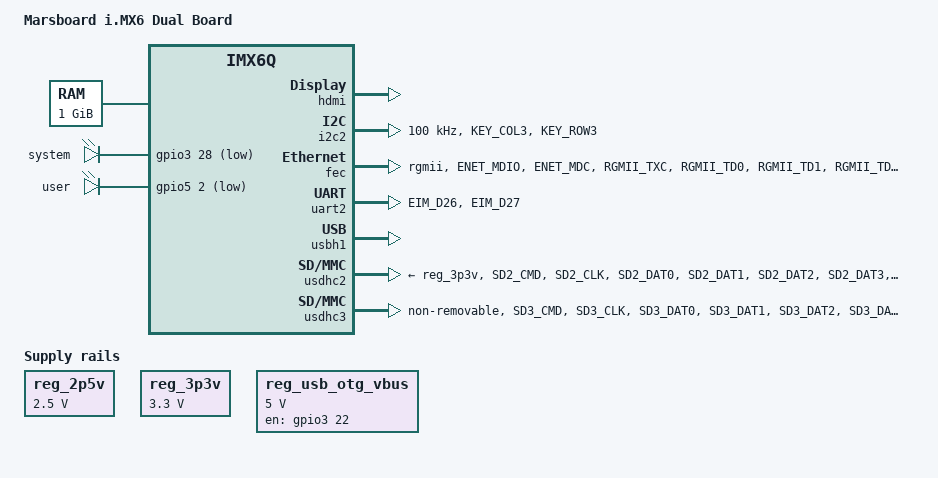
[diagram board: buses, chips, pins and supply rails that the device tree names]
/dts-v1/;

#include "imx6q.dtsi"
#include <dt-bindings/gpio/gpio.h>

/ {
  	model = "Marsboard i.MX6 Dual Board";
	compatible = "embest,imx6q-marsboard", "fsl,imx6q";
	aliases {
		mxcfb0 = &mxcfb1;
		mxcfb1 = &mxcfb2;
		mxcfb2 = &mxcfb3;
		mxcfb3 = &mxcfb4;
	};

	memory {
		reg = <0x10000000 0x40000000>;
	};

	regulators {
		compatible = "simple-bus";
		#address-cells = <1>;
		#size-cells = <0>;

		reg_2p5v: regulator@0 {
			compatible = "regulator-fixed";
			reg = <0>;
			regulator-name = "2P5V";
			regulator-min-microvolt = <2500000>;
			regulator-max-microvolt = <2500000>;
		};

		reg_3p3v: regulator@1 {
			compatible = "regulator-fixed";
			reg = <1>;
			regulator-name = "3P3V";
			regulator-min-microvolt = <3300000>;
			regulator-max-microvolt = <3300000>;
		};

		reg_usb_otg_vbus: regulator@2 {
			compatible = "regulator-fixed";
			reg = <2>;
			regulator-name = "usb_otg_vbus";
			regulator-min-microvolt = <5000000>;
			regulator-max-microvolt = <5000000>;
			gpio = <&gpio3 22 0>;
			enable-active-high;
		};
	};

	leds { /* see iomuxc definition below */
		compatible = "gpio-leds";
		sys_led {
			label = "system";
			gpios = <&gpio3 28 GPIO_ACTIVE_LOW>;
			linux,default-trigger = "heartbeat";
			default-state = "on";
		};
		user_led {
			label = "user";
			gpios = <&gpio5 2 GPIO_ACTIVE_LOW>;
			default-state = "off";
		};
	};
	
//	sound-hdmi {
//		compatible = "fsl,imx6q-audio-hdmi", "fsl,imx-audio-hdmi";
//		model = "imx-audio-hdmi";
//		hdmi-controller = <&hdmi_audio>;
//		status = "okay";
//	};

	mxcfb1: fb@0 {
		compatible = "fsl,mxc_sdc_fb";
		disp_dev = "hdmi";
		interface_pix_fmt = "RGB24";
		mode_str ="1280x720M@60";
		default_bpp = <32>;
		int_clk = <0>;
		late_init = <0>;
		status = "okay";
	};

	mxcfb2: fb@1 {
		compatible = "fsl,mxc_sdc_fb";
		disp_dev = "ldb";
		interface_pix_fmt = "RGB666";
		mode_str ="LDB-XGA";
		default_bpp = <16>;
		int_clk = <0>;
		late_init = <0>;
		status = "disabled";
	};

	mxcfb3: fb@2 {
		compatible = "fsl,mxc_sdc_fb";
		disp_dev = "lcd";
		interface_pix_fmt = "RGB565";
		mode_str ="CLAA-WVGA";
		default_bpp = <16>;
		int_clk = <0>;
		late_init = <0>;
		status = "disabled";
	};

	mxcfb4: fb@3 {
		compatible = "fsl,mxc_sdc_fb";
		disp_dev = "ldb";
		interface_pix_fmt = "RGB666";
		mode_str ="LDB-XGA";
		default_bpp = <16>;
		int_clk = <0>;
		late_init = <0>;
		status = "disabled";
	};

	v4l2_cap_0 {
		compatible = "fsl,imx6q-v4l2-capture";
		ipu_id = <0>;
		csi_id = <0>;
		mclk_source = <0>;
		status = "disabled";
	}; 

	v4l2_cap_1 {
		compatible = "fsl,imx6q-v4l2-capture";
		ipu_id = <0>;
		csi_id = <1>;
		mclk_source = <0>;
		status = "disabled";
	};

 	v4l2_out { // v4l2 output support: /dev/video16 + /dev/video17
		compatible = "fsl,mxc_v4l2_output";
		status = "okay";
	};

//	pwmleds {
//		compatible = "pwm-leds";
//		my_pwm {
//			pwms = <&pwm4 0 5000000>;
//			max-brightness = <255>;
//		};
//	};

};

&iomuxc {
	pinctrl-names = "default";

	imx6-marsboard {
		pinctrl_led: ledgrp {
			fsl,pins = <
				MX6QDL_PAD_EIM_A25__GPIO5_IO02		0x1b0b1	/* user led0 */
				MX6QDL_PAD_EIM_D28__GPIO3_IO28		0x1b0b1	/* user led1 */
			>;
		};
	
		pinctrl_enet: enetgrp {
			fsl,pins = <
				MX6QDL_PAD_ENET_MDIO__ENET_MDIO		0x1b0b0
				MX6QDL_PAD_ENET_MDC__ENET_MDC		0x1b0b0
				MX6QDL_PAD_RGMII_TXC__RGMII_TXC		0x1b0b0
				MX6QDL_PAD_RGMII_TD0__RGMII_TD0		0x1b0b0
				MX6QDL_PAD_RGMII_TD1__RGMII_TD1		0x1b0b0
				MX6QDL_PAD_RGMII_TD2__RGMII_TD2		0x1b0b0
				MX6QDL_PAD_RGMII_TD3__RGMII_TD3		0x1b0b0
				MX6QDL_PAD_RGMII_TX_CTL__RGMII_TX_CTL	0x1b0b0
				MX6QDL_PAD_ENET_REF_CLK__ENET_TX_CLK	0x0a0b1		/* AR8035 CLK_25M --> ENET_REF_CLK (V22) */
				MX6QDL_PAD_RGMII_RXC__RGMII_RXC		0x1b0b0		/* AR8035 pin strapping: IO voltage: pull up */
				MX6QDL_PAD_RGMII_RD0__RGMII_RD0		0x130b0		/* AR8035 pin strapping: PHYADDR#0: pull down */
				MX6QDL_PAD_RGMII_RD1__RGMII_RD1		0x130b0		/* AR8035 pin strapping: PHYADDR#1: pull down */
				MX6QDL_PAD_RGMII_RD2__RGMII_RD2		0x1b0b0		/* AR8035 pin strapping: MODE#1: pull up */
				MX6QDL_PAD_RGMII_RD3__RGMII_RD3		0x1b0b0		/* AR8035 pin strapping: MODE#3: pull up */
				MX6QDL_PAD_RGMII_RX_CTL__RGMII_RX_CTL	0x130b0		/* AR8035 pin strapping: MODE#0: pull down */
				MX6QDL_PAD_GPIO_16__ENET_REF_CLK	0x4001b0a8	/* GPIO16 -> AR8035 25MHz */
				MX6QDL_PAD_EIM_D31__GPIO3_IO31		0x130b0		/* RGMII_nRST */
				MX6QDL_PAD_ENET_TX_EN__GPIO1_IO28	0x180b0		/* AR8035 interrupt */
				MX6QDL_PAD_GPIO_6__ENET_IRQ		0x000b1
			>;
		};

	// shared on LCD port (J12), extension header (J11), and LVDS display (J3), on-board pull-ups
	// 3p3
	//	i2c3 {		/* for LVDS display */
	//		pinctrl_i2c3: i2c3grp {
	//			fsl,pins = <
	//					MX6QDL_PAD_GPIO_5__I2C3_SCL 0x4001b8b1
	//					MX6QDL_PAD_GPIO_6__I2C3_SDA 0x4001b8b1
	//			>;
	//		};
	//	};

	// shared on J10 and LVDS display (J3)
	//	pwm4 {
	//		pinctrl_pwm4_2: pwm4grp-2 {
	//			fsl,pins = <
	//				MX6QDL_PAD_SD1_CMD__PWM4_OUT 0x1b0b1
	//			>;
	//		};
	//	};

		pinctrl_usdhc2: usdhc2grp {
			fsl,pins = <
				MX6QDL_PAD_SD2_CMD__SD2_CMD    0x17059
				MX6QDL_PAD_SD2_CLK__SD2_CLK    0x10059
				MX6QDL_PAD_SD2_DAT0__SD2_DATA0 0x17059
				MX6QDL_PAD_SD2_DAT1__SD2_DATA1 0x17059
				MX6QDL_PAD_SD2_DAT2__SD2_DATA2 0x17059
				MX6QDL_PAD_SD2_DAT3__SD2_DATA3 0x17059
			>;
		};

		pinctrl_usdhc3: usdhc3grp {
			fsl,pins = <
				MX6QDL_PAD_SD3_CMD__SD3_CMD    0x17059
				MX6QDL_PAD_SD3_CLK__SD3_CLK    0x10059
				MX6QDL_PAD_SD3_DAT0__SD3_DATA0 0x17059
				MX6QDL_PAD_SD3_DAT1__SD3_DATA1 0x17059
				MX6QDL_PAD_SD3_DAT2__SD3_DATA2 0x17059
				MX6QDL_PAD_SD3_DAT3__SD3_DATA3 0x17059
				MX6QDL_PAD_SD3_DAT4__SD3_DATA4 0x17059
				MX6QDL_PAD_SD3_DAT5__SD3_DATA5 0x17059
				MX6QDL_PAD_SD3_DAT6__SD3_DATA6 0x17059
				MX6QDL_PAD_SD3_DAT7__SD3_DATA7 0x17059
			>;
		};

		pinctrl_i2c2: i2c2grp {
			fsl,pins = <
				MX6QDL_PAD_KEY_COL3__I2C2_SCL		0x4001b8b1
				MX6QDL_PAD_KEY_ROW3__I2C2_SDA		0x4001b8b1
			>;
		};

		pinctrl_uart2: uart2grp {
			fsl,pins = <
				MX6QDL_PAD_EIM_D26__UART2_TX_DATA	0x1b0b1
				MX6QDL_PAD_EIM_D27__UART2_RX_DATA	0x1b0b1
			>;
		};

		pinctrl_uart3: uart3grp {
			fsl,pins = <
				MX6QDL_PAD_EIM_D24__UART3_TX_DATA	0x1b0b1
				MX6QDL_PAD_EIM_D25__UART3_RX_DATA	0x1b0b1
				MX6QDL_PAD_EIM_D30__UART3_CTS_B   	0x1b0b1
			>;
		};
	};
};

&hdmi {
	ddc-i2c-bus = <&i2c2>;
	status = "okay";
};

// part of HDMI (J1)
&i2c2 {
	clock-frequency = <100000>;
	pinctrl-names = "default";
	pinctrl-0 = <&pinctrl_i2c2>;
	status = "okay";
};

// &cpu0 {
//	arm-supply = <&reg_arm>;
//	soc-supply = <&reg_soc>;
//	pu-supply = <&reg_pu>; /* use pu_dummy if VDDSOC share with VDDPU */
//};

&gpc {
	fsl,ldo-bypass = <0>; /* use ldo-bypass, u-boot will check it and configure */
	fsl,wdog-reset = <1>; /* watchdog select of reset source */
	pu-supply = <&reg_pu>; /* ldo-bypass:use pu_dummy if VDDSOC share with VDDPU */
};

// &gpu {
//	pu-supply = <&reg_pu>; /* ldo-bypass:use pu_dummy if VDDSOC share with VDDPU */
// };

&vpu {
	pu-supply = <&reg_pu>; /* ldo-bypass:use pu_dummy if VDDSOC share with VDDPU */
};

&fec {
	pinctrl-names = "default";
	pinctrl-0 = <&pinctrl_enet>;
	phy-mode = "rgmii";
	phy-reset-gpios = <&gpio3 31 0>;
	interrupts-extended = <&gpio1 6 IRQ_TYPE_LEVEL_HIGH>,
			      <&intc 0 119 IRQ_TYPE_LEVEL_HIGH>;
	status = "okay";
};

&mxcfb1 {
	status = "okay";
};

// example for display
//&ldb {
//	ipu_id = <1>;
//	disp_id = <1>;
//	ext_ref = <1>;
//	mode = "sep1";
//	sec_ipu_id = <1>;
//	sec_disp_id = <0>;
//};

// example for UART on J11
//&uart1 {
//	pinctrl-names = "default";
//	pinctrl-0 = <&pinctrl_uart1_1>;
//	status = "okay";
//};

// this is debug com
&uart2 {
	pinctrl-names = "default";
	pinctrl-0 = <&pinctrl_uart2>;
	status = "okay";
};

// example for UART on J10
//&uart3 {
//	pinctrl-names = "default";
//	pinctrl-0 = <&pinctrl_uart3_1>;
//	status = "okay";
//};

&usbh1 {
	status = "okay";
};

// micro-SD card J13
&usdhc2 {
	pinctrl-names = "default";
	pinctrl-0 = <&pinctrl_usdhc2>;
	cd-gpios = <&gpio1 4 GPIO_ACTIVE_LOW>;
	wp-gpios = <&gpio1 2 GPIO_ACTIVE_HIGH>;
	vmmc-supply = <&reg_3p3v>;
	status = "okay";
};

// on-board eMMC
&usdhc3 {
	pinctrl-names = "default";
	pinctrl-0 = <&pinctrl_usdhc3>;
	non-removable;
	status = "okay";
};

// example for PWM
//&pwm4 {
//	pinctrl-names = "default";
//	pinctrl-0 = <&pinctrl_pwm4_2>;
//	status = "okay";
//};


